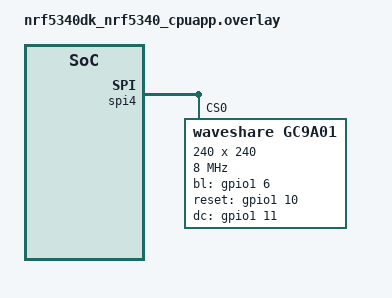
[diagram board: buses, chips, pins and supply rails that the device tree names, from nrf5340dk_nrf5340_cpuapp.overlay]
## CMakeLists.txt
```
# SPDX-License-Identifier: Apache-2.0

cmake_minimum_required(VERSION 3.20.0)

find_package(Zephyr REQUIRED HINTS $ENV{ZEPHYR_BASE})
project(nrf53_gc9a01)

FILE(GLOB app_sources src/*.c)
target_sources(app PRIVATE ${app_sources})

# NORDIC SDK APP END
zephyr_library_include_directories(.)
```

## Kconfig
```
menu "Zephyr Kernel"
    source "Kconfig.zephyr"
endmenu

menu "gc9a01_display_menu"
    
    menu "Custom drivers"
        if DISPLAY
            menuconfig GC9A01
                bool "GC9A01 compatible display controller driver"
                default n
                select SPI
                help
                    Enable driver for GC9A01 compatible controller.
        endif
    endmenu

endmenu
```

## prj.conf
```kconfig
CONFIG_LV_Z_MEM_POOL_NUMBER_BLOCKS=8
CONFIG_MAIN_STACK_SIZE=2048

CONFIG_DISPLAY=y
CONFIG_DISPLAY_LOG_LEVEL_ERR=y

CONFIG_LOG=y

CONFIG_PM_DEVICE=y
CONFIG_PM_DEVICE_RUNTIME=y

CONFIG_SPI=y
CONFIG_GC9A01=y

CONFIG_LVGL=y
CONFIG_LV_Z_MEM_POOL_NUMBER_BLOCKS=8
CONFIG_LV_MEM_CUSTOM=y
CONFIG_LV_MEM_SIZE_KILOBYTES=64
CONFIG_LV_FONT_MONTSERRAT_10=y
CONFIG_LV_FONT_MONTSERRAT_12=y
CONFIG_LV_FONT_MONTSERRAT_14=y
CONFIG_LV_FONT_MONTSERRAT_16=y
CONFIG_LV_FONT_MONTSERRAT_18=y
CONFIG_LV_FONT_MONTSERRAT_20=y

CONFIG_LV_Z_DOUBLE_VDB=y
CONFIG_LV_Z_VDB_SIZE=10

CONFIG_LV_THEME_DEFAULT_DARK=y

#
# Memory settings
#
# CONFIG_LV_MEM_CUSTOM is not set
# CONFIG_LV_MEM_SIZE_KILOBYTES=128
# CONFIG_LV_MEM_ADDR=0x0
# CONFIG_LV_MEM_BUF_MAX_NUM=16
# end of Memory settings
```

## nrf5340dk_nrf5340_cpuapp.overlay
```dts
// To get started, press Ctrl+Space (or Option+Esc) to bring up the completion menu and view the available nodes.

// You can also use the buttons in the sidebar to perform actions on nodes.
// Actions currently available include:

// * Enabling / disabling the node
// * Adding the bus to a bus
// * Removing the node
// * Connecting ADC channels

// For more help, browse the DeviceTree documentation at https://docs.zephyrproject.org/latest/guides/dts/index.html
// You can also visit the nRF DeviceTree extension documentation at https://nrfconnect.github.io/vscode-nrf-connect/devicetree/nrfdevicetree.html

/ {
    chosen {
        zephyr,display = &gc9a01;
    };

};

&spi4  {
    status = "okay";
    compatible = "nordic,nrf-spim";
    pinctrl-0 = <&spi4_default>;
    pinctrl-1 = <&spi4_sleep>;
    pinctrl-names = "default", "sleep";
    // cs-gpios = <&gpio0 6 GPIO_ACTIVE_LOW>;

    gc9a01: gc9a01@0 {
        compatible = "waveshare,gc9a01";
        status = "okay";
        spi-max-frequency = <8000000>;
        reg = <0>;
        width = <240>;
        height = <240>;
        bl-gpios = <&gpio1 6 GPIO_ACTIVE_HIGH>;
        reset-gpios = <&gpio1 10 GPIO_ACTIVE_HIGH>;
        dc-gpios = <&gpio1 11 GPIO_ACTIVE_HIGH>;
    };
};
```

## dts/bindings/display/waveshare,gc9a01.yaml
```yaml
description: GC9A01 display controller

compatible: "waveshare,gc9a01"

include: [spi-device.yaml, display-controller.yaml]


properties:
    reset-gpios:
      type: phandle-array
      required: true
      description: RESET pin.

        The RESET pin of GC9A01 is active low.
        If connected directly the MCU pin should be configured
        as active low.

    bl-gpios:
      type: phandle-array
      required: true
      description: BL pin.

        Pin for backlight PWM control.

    dc-gpios:
      type: phandle-array
      required: true
      description: DC pin.

        The DC pin of GC9A01 is active low (transmission command byte).
        If connected directly the MCU pin should be configured
        as active low.

    rotation:
      type: int
      default: 0
      enum:
        - 0
        - 90
        - 180
        - 270
      description:
        Display rotation (CW) in degrees.

    pwr:
      type: uint8-array
      required: false
      description: Power Setting (PWR) values

    softstart:
      type: uint8-array
      required: false
      description: Booster Soft Start (BTST) values

    cdi:
      type: int
      required: false
      description: VCOM and data interval value

    tcon:
      type: int
      required: false
      description: TCON setting value
on-bus: spi
```

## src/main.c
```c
/*
 * Copyright (c) 2018 Jan Van Winkel <jan.van_winkel@dxplore.eu>
 *
 * SPDX-License-Identifier: Apache-2.0
 */

#include <zephyr/device.h>
#include <zephyr/devicetree.h>
#include <zephyr/drivers/display.h>
#include <zephyr/drivers/gpio.h>
#include <lvgl.h>
#include <stdio.h>
#include <string.h>
#include <zephyr/kernel.h>

#define LOG_LEVEL CONFIG_LOG_DEFAULT_LEVEL
#include <zephyr/logging/log.h>
LOG_MODULE_REGISTER(app);

static uint32_t count;

#ifdef CONFIG_GPIO
static struct gpio_dt_spec button_gpio = GPIO_DT_SPEC_GET_OR(
		DT_ALIAS(sw0), gpios, {0});
static struct gpio_callback button_callback;

static void button_isr_callback(const struct device *port,
				struct gpio_callback *cb,
				uint32_t pins)
{
	ARG_UNUSED(port);
	ARG_UNUSED(cb);
	ARG_UNUSED(pins);

	count = 0;
}
#endif

int main(void)
{
	int err;
	char count_str[11] = {0};
	const struct device *display_dev;
	lv_obj_t *hello_world_label;
	lv_obj_t *count_label;

	display_dev = DEVICE_DT_GET(DT_CHOSEN(zephyr_display));
	if (!device_is_ready(display_dev)) {
		LOG_ERR("Device not ready, aborting test");
		return 0;
	}

#ifdef CONFIG_GPIO
	if (device_is_ready(button_gpio.port)) {
		err = gpio_pin_configure_dt(&button_gpio, GPIO_INPUT);
		if (err) {
			LOG_ERR("failed to configure button gpio: %d", err);
			return 0;
		}

		gpio_init_callback(&button_callback, button_isr_callback,
				   BIT(button_gpio.pin));

		err = gpio_add_callback(button_gpio.port, &button_callback);
		if (err) {
			LOG_ERR("failed to add button callback: %d", err);
			return 0;
		}

		err = gpio_pin_interrupt_configure_dt(&button_gpio,
						      GPIO_INT_EDGE_TO_ACTIVE);
		if (err) {
			LOG_ERR("failed to enable button callback: %d", err);
			return 0;
		}
	}
#endif

	if (IS_ENABLED(CONFIG_LV_Z_POINTER_KSCAN)) {
		lv_obj_t *hello_world_button;

		hello_world_button = lv_btn_create(lv_scr_act());
		lv_obj_align(hello_world_button, LV_ALIGN_CENTER, 0, 0);
		hello_world_label = lv_label_create(hello_world_button);
	} else {
		hello_world_label = lv_label_create(lv_scr_act());
	}

	lv_label_set_text(hello_world_label, "Hello World");
	lv_obj_align(hello_world_label, LV_ALIGN_CENTER, 0, 0);

	count_label = lv_label_create(lv_scr_act());
	lv_obj_align(count_label, LV_ALIGN_BOTTOM_MID, 0, 0);

	lv_task_handler();
	display_blanking_off(display_dev);

	while (1) {
		if ((count % 100) == 0U) {
			sprintf(count_str, "%d", count/100U);
			lv_label_set_text(count_label, count_str);
		}
		lv_task_handler();
		++count;
		k_sleep(K_MSEC(10));
	}
}
```

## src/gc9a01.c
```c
#define DT_DRV_COMPAT waveshare_gc9a01

#include <string.h>
#include <zephyr/device.h>
#include <zephyr/init.h>
#include <zephyr/drivers/display.h>
#include <zephyr/drivers/gpio.h>
#include <zephyr/drivers/spi.h>
#include <zephyr/sys/byteorder.h>
#include <zephyr/kernel.h>
#include <math.h>
#include <zephyr/logging/log.h>
#include <inttypes.h>
#include <zephyr/pm/pm.h>
#include <zephyr/pm/device.h>
#include <zephyr/pm/policy.h>

LOG_MODULE_REGISTER(gc9a01, CONFIG_DISPLAY_LOG_LEVEL);

#define GC9A01_SPI_PROFILING

/**
 * gc9a01 display controller driver.
 *
 */

#define GC9A01A_SLPIN 0x10  ///< Enter Sleep Mode
#define GC9A01A_SLPOUT 0x11 ///< Sleep Out
#define GC9A01A_PTLON 0x12  ///< Partial Mode ON
#define GC9A01A_NORON 0x13  ///< Normal Display Mode ON

#define GC9A01A_INVOFF 0x20   ///< Display Inversion OFF
#define GC9A01A_INVON 0x21    ///< Display Inversion ON
#define GC9A01A_DISPOFF 0x28  ///< Display OFF
#define GC9A01A_DISPON 0x29   ///< Display ON

#define GC9A01A_CASET 0x2A ///< Column Address Set
#define GC9A01A_PASET 0x2B ///< Page Address Set
#define GC9A01A_RAMWR 0x2C ///< Memory Write

#define GC9A01A_PTLAR 0x30    ///< Partial Area
#define GC9A01A_VSCRDEF 0x33  ///< Vertical Scrolling Definition
#define GC9A01A_TEOFF 0x34    ///< Tearing effect line off
#define GC9A01A_TEON 0x35     ///< Tearing effect line on
#define GC9A01A_MADCTL 0x36   ///< Memory Access Control
#define GC9A01A_VSCRSADD 0x37 ///< Vertical Scrolling Start Address
#define GC9A01A_PIXFMT 0x3A   ///< COLMOD: Pixel Format Set

#define GC9A01A1_DFUNCTR 0xB6 ///< Display Function Control

#define GC9A01A1_VREG1A 0xC3 ///< Vreg1a voltage control
#define GC9A01A1_VREG1B 0xC4 ///< Vreg1b voltage control
#define GC9A01A1_VREG2A 0xC9 ///< Vreg2a voltage control

#define GC9A01A_RDID1 0xDA ///< Read ID 1
#define GC9A01A_RDID2 0xDB ///< Read ID 2
#define GC9A01A_RDID3 0xDC ///< Read ID 3

#define GC9A01A1_GMCTRP1 0xE0 ///< Positive Gamma Correction
#define GC9A01A1_GMCTRN1 0xE1 ///< Negative Gamma Correction
#define GC9A01A_FRAMERATE 0xE8 ///< Frame rate control

#define GC9A01A_INREGEN2 0xEF ///< Inter register enable 2
#define GC9A01A_GAMMA1 0xF0 ///< Set gamma 1
#define GC9A01A_GAMMA2 0xF1 ///< Set gamma 2
#define GC9A01A_GAMMA3 0xF2 ///< Set gamma 3
#define GC9A01A_GAMMA4 0xF3 ///< Set gamma 4

#define GC9A01A_INREGEN1 0xFE ///< Inter register enable 1

#define MADCTL_MY 0x80  ///< Bottom to top
#define MADCTL_MX 0x40  ///< Right to left
#define MADCTL_MV 0x20  ///< Reverse Mode
#define MADCTL_ML 0x10  ///< LCD refresh Bottom to top
#define MADCTL_RGB 0x00 ///< Red-Green-Blue pixel order
#define MADCTL_BGR 0x08 ///< Blue-Green-Red pixel order
#define MADCTL_MH 0x04  ///< LCD refresh right to left

#define DISPLAY_WIDTH         DT_INST_PROP(0, width)
#define DISPLAY_HEIGHT        DT_INST_PROP(0, height)

// Command codes:
#define COL_ADDR_SET        0x2A
#define ROW_ADDR_SET        0x2B
#define MEM_WR              0x2C
#define MEM_WR_CONT         0x3C
#define COLOR_MODE          0x3A
#define COLOR_MODE_12_BIT  0x03
#define COLOR_MODE_16_BIT  0x05
#define COLOR_MODE_18_BIT  0x06
#define SLPIN               0x10
#define SLPOUT              0x11

static const uint8_t initcmd[] = {
    GC9A01A_INREGEN2, 0,
    0xEB, 1, 0x14,
    GC9A01A_INREGEN1, 0,
    GC9A01A_INREGEN2, 0,
    0xEB, 1, 0x14,
    0x84, 1, 0x40,
    0x85, 1, 0xFF,
    0x86, 1, 0xFF,
    0x87, 1, 0xFF,
    0x88, 1, 0x0A,
    0x89, 1, 0x21,
    0x8A, 1, 0x00,
    0x8B, 1, 0x80,
    0x8C, 1, 0x01,
    0x8D, 1, 0x01,
    0x8E, 1, 0xFF,
    0x8F, 1, 0xFF,
    0xB6, 2, 0x00, 0x00,
#if DT_PROP(DT_INST(0, waveshare_gc9a01), rotation) == 0
    GC9A01A_MADCTL, 1,  MADCTL_MV | MADCTL_MY | MADCTL_MX | MADCTL_BGR,
#elif DT_PROP(DT_INST(0, waveshare_gc9a01), rotation) == 90
    GC9A01A_MADCTL, 1,  MADCTL_MH | MADCTL_MY | 0 | MADCTL_BGR,
#elif DT_PROP(DT_INST(0, waveshare_gc9a01), rotation) == 180
    GC9A01A_MADCTL, 1,  MADCTL_MV | 0 | 0 | MADCTL_BGR,
#elif DT_PROP(DT_INST(0, waveshare_gc9a01), rotation) == 270
    GC9A01A_MADCTL, 1,  MADCTL_MH | MADCTL_MX | 0 | 0 | MADCTL_BGR,
#else
#error "Unsupported rotation. Use 0, 90, 180 or 270."
#endif
    GC9A01A_PIXFMT, 1, COLOR_MODE_16_BIT,
    0x90, 4, 0x08, 0x08, 0x08, 0x08,
    0xBD, 1, 0x06,
    0xBC, 1, 0x00,
    0xFF, 3, 0x60, 0x01, 0x04,
    GC9A01A1_VREG1A, 1, 0x13,
    GC9A01A1_VREG1B, 1, 0x13,
    GC9A01A1_VREG2A, 1, 0x22,
    0xBE, 1, 0x11,
    GC9A01A1_GMCTRN1, 2, 0x10, 0x0E,
    0xDF, 3, 0x21, 0x0c, 0x02,
    GC9A01A_GAMMA1, 6, 0x45, 0x09, 0x08, 0x08, 0x26, 0x2A,
    GC9A01A_GAMMA2, 6, 0x43, 0x70, 0x72, 0x36, 0x37, 0x6F,
    GC9A01A_GAMMA3, 6, 0x45, 0x09, 0x08, 0x08, 0x26, 0x2A,
    GC9A01A_GAMMA4, 6, 0x43, 0x70, 0x72, 0x36, 0x37, 0x6F,
    0xED, 2, 0x1B, 0x0B,
    0xAE, 1, 0x77,
    0xCD, 1, 0x63,
    0x70, 9, 0x07, 0x07, 0x04, 0x0E, 0x0F, 0x09, 0x07, 0x08, 0x03,
    GC9A01A_FRAMERATE, 1, 0x34,
    0x62, 12, 0x18, 0x0D, 0x71, 0xED, 0x70, 0x70,
    0x18, 0x0F, 0x71, 0xEF, 0x70, 0x70,
    0x63, 12, 0x18, 0x11, 0x71, 0xF1, 0x70, 0x70,
    0x18, 0x13, 0x71, 0xF3, 0x70, 0x70,
    0x64, 7, 0x28, 0x29, 0xF1, 0x01, 0xF1, 0x00, 0x07,
    0x66, 10, 0x3C, 0x00, 0xCD, 0x67, 0x45, 0x45, 0x10, 0x00, 0x00, 0x00,
    0x67, 10, 0x00, 0x3C, 0x00, 0x00, 0x00, 0x01, 0x54, 0x10, 0x32, 0x98,
    0x74, 7, 0x10, 0x85, 0x80, 0x00, 0x00, 0x4E, 0x00,
    0x98, 2, 0x3e, 0x07,
    GC9A01A_TEON, 1, GC9A01A_INVOFF,
    GC9A01A_INVON, 0,
    GC9A01A_DISPON, 0x80, // Display on
    GC9A01A_SLPOUT, 0x80, // Exit sleep
    0x00                  // End of list
};

struct gc9a01_config {
    struct spi_dt_spec bus;
    struct gpio_dt_spec dc_gpio;
    struct gpio_dt_spec bl_gpio;
    struct gpio_dt_spec reset_gpio;
};

struct gc9a01_point {
    uint16_t X, Y;
};

struct gc9a01_frame {
    struct gc9a01_point start, end;
};

static struct gc9a01_frame frame = {{0, 0}, {DISPLAY_WIDTH - 1, DISPLAY_HEIGHT - 1}};

static inline int gc9a01_write_cmd(const struct device *dev, uint8_t cmd,
                                   const uint8_t *data, size_t len)
{
    const struct gc9a01_config *config = dev->config;
    struct spi_buf buf = {.buf = &cmd, .len = sizeof(cmd)};
    struct spi_buf_set buf_set = {.buffers = &buf, .count = 1};
    gpio_pin_set_dt(&config->dc_gpio, 0);
    if (spi_write_dt(&config->bus, &buf_set) != 0) {
        LOG_ERR("Failed sending data");
        return -EIO;
    }

    if (data != NULL && len != 0) {
        buf.buf = (void *)data;
        buf.len = len;
        gpio_pin_set_dt(&config->dc_gpio, 1);
        if (spi_write_dt(&config->bus, &buf_set) != 0) {
            LOG_ERR("Failed sending data");
            return -EIO;
        }
    }

    return 0;
}

static void gc9a01_set_frame(const struct device *dev, struct gc9a01_frame frame)
{
    uint8_t data[4];

    data[0] = (frame.start.X >> 8) & 0xFF;
    data[1] = frame.start.X & 0xFF;
    data[2] = (frame.end.X >> 8) & 0xFF;
    data[3] = frame.end.X & 0xFF;
    gc9a01_write_cmd(dev, COL_ADDR_SET, data, sizeof(data));

    data[0] = (frame.start.Y >> 8) & 0xFF;
    data[1] = frame.start.Y & 0xFF;
    data[2] = (frame.end.Y >> 8) & 0xFF;
    data[3] = frame.end.Y & 0xFF;
    gc9a01_write_cmd(dev, ROW_ADDR_SET, data, sizeof(data));
}

static int gc9a01_blanking_off(const struct device *dev)
{
    return gc9a01_write_cmd(dev, GC9A01A_DISPON, NULL, 0);
}

static int gc9a01_blanking_on(const struct device *dev)
{
    return gc9a01_write_cmd(dev, GC9A01A_DISPOFF, NULL, 0);
}

static int gc9a01_write(const struct device *dev, const uint16_t x, const uint16_t y,
                        const struct display_buffer_descriptor *desc,
                        const void *buf)
{
    const struct gc9a01_config *config = dev->config;
    __ASSERT(pm_device_action_run(config->bus.bus, PM_DEVICE_ACTION_RESUME) == 0, "Failed resume SPI Bus");
#ifdef GC9A01_SPI_PROFILING
    uint32_t start_time;
    uint32_t stop_time;
    uint32_t cycles_spent;
    uint32_t nanoseconds_spent;
#endif
    uint16_t x_end_idx = x + desc->width - 1;
    uint16_t y_end_idx = y + desc->height - 1;

    frame.start.X = x;
    frame.end.X = x_end_idx;
    frame.start.Y = y;
    frame.end.Y = y_end_idx;
    gc9a01_set_frame(dev, frame);

    size_t len = (x_end_idx + 1 - x) * (y_end_idx + 1 - y) * 16 / 8;
    //printk("x_start: %d, y_start: %d, x_end: %d, y_end: %d, buf_size: %d, pitch: %d len: %d\n", x, y, x_end_idx, y_end_idx, desc->buf_size, desc->pitch, len);

#ifdef GC9A01_SPI_PROFILING
    start_time = k_cycle_get_32();
#endif
    gc9a01_write_cmd(dev, GC9A01A_RAMWR, buf, len);
#ifdef GC9A01_SPI_PROFILING
    stop_time = k_cycle_get_32();
    cycles_spent = stop_time - start_time;
    nanoseconds_spent = k_cyc_to_ns_ceil32(cycles_spent);
    LOG_DBG("%d =>: %dns", len, nanoseconds_spent);
#endif
    __ASSERT(pm_device_action_run(config->bus.bus, PM_DEVICE_ACTION_SUSPEND) == 0, "Failed suspend SPI Bus");
    return 0;
}

static int gc9a01_read(const struct device *dev, const uint16_t x, const uint16_t y,
                       const struct display_buffer_descriptor *desc, void *buf)
{
    LOG_ERR("not supported");
    return -ENOTSUP;
}

static void *gc9a01_get_framebuffer(const struct device *dev)
{
    LOG_ERR("not supported");
    return NULL;
}

static int gc9a01_set_brightness(const struct device *dev,
                                 const uint8_t brightness)
{
    LOG_WRN("not supported");
    return -ENOTSUP;
}

static int gc9a01_set_contrast(const struct device *dev, uint8_t contrast)
{
    LOG_WRN("not supported");
    return -ENOTSUP;
}

static void gc9a01_get_capabilities(const struct device *dev,
                                    struct display_capabilities *caps)
{
    memset(caps, 0, sizeof(struct display_capabilities));
    caps->x_resolution = DISPLAY_WIDTH;
    caps->y_resolution = DISPLAY_HEIGHT;
    caps->supported_pixel_formats = PIXEL_FORMAT_BGR_565;
    caps->current_pixel_format = PIXEL_FORMAT_BGR_565;
    caps->screen_info = SCREEN_INFO_MONO_MSB_FIRST;
}

static int gc9a01_set_orientation(const struct device *dev,
                                  const enum display_orientation
                                  orientation) {
    LOG_ERR("Unsupported");
    return -ENOTSUP;
}

static int gc9a01_set_pixel_format(const struct device *dev,
                                   const enum display_pixel_format pf)
{
    LOG_ERR("not supported");
    return -ENOTSUP;
}

static int gc9a01_controller_init(const struct device *dev)
{
    int rc;
    int i = 0;
    uint8_t cmd, x, numArgs;
    const uint8_t *addr;
    const struct gc9a01_config *config = dev->config;

    LOG_DBG("Initialize GC9A01 controller");
    gpio_pin_set_dt(&config->reset_gpio, 0);
    k_msleep(5);
    gpio_pin_set_dt(&config->reset_gpio, 1);
    k_msleep(150);
    rc = pm_device_action_run(config->bus.bus, PM_DEVICE_ACTION_RESUME);
    __ASSERT(rc == -EALREADY || rc == 0, "Failed resume SPI Bus");

    addr = initcmd;
    while ((cmd = *addr++) > 0) {
        x = *addr++;
        numArgs = x & 0x7F;
        gc9a01_write_cmd(dev, cmd, addr, numArgs);
        addr += numArgs;
        if (x & 0x80) {
            k_msleep(150);
        }
        i++;
    }

    __ASSERT(pm_device_action_run(config->bus.bus, PM_DEVICE_ACTION_SUSPEND) == 0, "Failed suspend SPI Bus");
    return 0;
}

static int gc9a01_init(const struct device *dev)
{
    const struct gc9a01_config *config = dev->config;
    LOG_DBG("");

    if (!device_is_ready(config->reset_gpio.port)) {
        LOG_ERR("Reset GPIO device not ready");
        return -ENODEV;
    }

    if (!device_is_ready(config->dc_gpio.port)) {
        LOG_ERR("DC GPIO device not ready");
        return -ENODEV;
    }
    gpio_pin_configure_dt(&config->reset_gpio, GPIO_OUTPUT_INACTIVE);
    gpio_pin_configure_dt(&config->dc_gpio, GPIO_OUTPUT_INACTIVE);

    if (!device_is_ready(config->bl_gpio.port)) {
        LOG_ERR("Busy GPIO device not ready");
        return -ENODEV;
    }

    // Default to 0 brightness
    gpio_pin_configure_dt(&config->bl_gpio, GPIO_OUTPUT_INACTIVE);
    return gc9a01_controller_init(dev);
}

static int gc9a01_pm_action(const struct device *dev,
                            enum pm_device_action action)
{
    int err = 0;
    const struct gc9a01_config *config = dev->config;
    __ASSERT(pm_device_action_run(config->bus.bus, PM_DEVICE_ACTION_RESUME) == 0, "Failed resume SPI Bus");

    switch (action) {
        case PM_DEVICE_ACTION_RESUME:
            err = gc9a01_write_cmd(dev, GC9A01A_SLPOUT, NULL, 0);
            k_msleep(5); // According to datasheet wait 5ms after SLPOUT before next command.
            err = gc9a01_write_cmd(dev, GC9A01A_DISPON, NULL, 0);
            break;
        case PM_DEVICE_ACTION_SUSPEND:
            err = gc9a01_write_cmd(dev, GC9A01A_DISPOFF, NULL, 0);
            err = gc9a01_write_cmd(dev, GC9A01A_SLPIN, NULL, 0);
            break;
        case PM_DEVICE_ACTION_TURN_ON:
            err = gc9a01_init(dev);
            break;
        case PM_DEVICE_ACTION_TURN_OFF:
            break;
        default:
            err = -ENOTSUP;
    }

    err = pm_device_action_run(config->bus.bus, PM_DEVICE_ACTION_SUSPEND);
    __ASSERT(err == 0 || err == -EALREADY, "Failed suspend SPI Bus");

    if (err == -EALREADY) {
        err = 0;
    }

    if (err < 0) {
        LOG_ERR("%s: failed to set power mode", dev->name);
    }

    return err;
}

static const struct gc9a01_config gc9a01_config = {
    .bus = SPI_DT_SPEC_INST_GET(0, SPI_OP_MODE_MASTER | SPI_WORD_SET(8), 0),
    .reset_gpio = GPIO_DT_SPEC_INST_GET(0, reset_gpios),
    .dc_gpio = GPIO_DT_SPEC_INST_GET(0, dc_gpios),
    .bl_gpio = GPIO_DT_SPEC_INST_GET(0, bl_gpios),
};

static struct display_driver_api gc9a01_driver_api = {
    .blanking_on = gc9a01_blanking_on,
    .blanking_off = gc9a01_blanking_off,
    .write = gc9a01_write,
    .read = gc9a01_read,
    .get_framebuffer = gc9a01_get_framebuffer,
    .set_brightness = gc9a01_set_brightness,
    .set_contrast = gc9a01_set_contrast,
    .get_capabilities = gc9a01_get_capabilities,
    .set_pixel_format = gc9a01_set_pixel_format,
    .set_orientation = gc9a01_set_orientation,
};

PM_DEVICE_DT_INST_DEFINE(0, gc9a01_pm_action);
DEVICE_DT_INST_DEFINE(0, gc9a01_init, PM_DEVICE_DT_INST_GET(0), NULL, &gc9a01_config, POST_KERNEL,
                      CONFIG_DISPLAY_INIT_PRIORITY, &gc9a01_driver_api);
```
